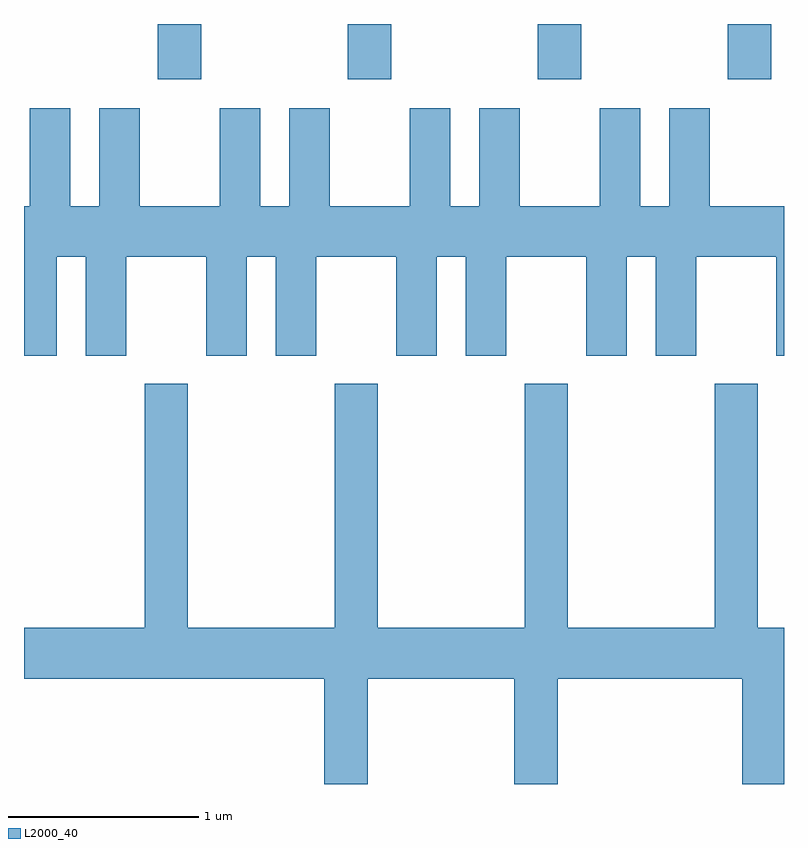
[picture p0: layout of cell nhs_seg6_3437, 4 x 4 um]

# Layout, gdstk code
import gdstk
lib = gdstk.Library(unit=1e-6, precision=1e-09)
def R(c, l, rs):  # rectangles x0, y0, x1, y1
    for r in rs: c.add(gdstk.rectangle(r[:2], r[2:], *l))
def A(c, l, x, y, w, h, nx, ny, dx, dy):  # array of equal rectangles
    R(c, l, [(x+i*dx, y+j*dy, x+i*dx+w, y+j*dy+h) for i in range(nx) for j in range(ny)])
def P(c, l, *ps):  # polygons
    for p in ps: c.add(gdstk.Polygon(p, *l))
L2000_40 = (2000, 40)

nhs_seg6_3437 = lib.new_cell('nhs_seg6_3437')
A(nhs_seg6_3437, L2000_40, 290.316, 1539.871, 0.228, 0.291, 4, 1, 1, 0)
P(nhs_seg6_3437, L2000_40, [(289.784,1538.936),(289.936,1538.936),(289.936,1538.416),(290.149,1538.416),(290.149,1538.936),(290.571,1538.936),(290.571,1538.416),(290.784,1538.416),(290.784,1538.936),(290.936,1538.936),(290.936,1538.416),(291.149,1538.416),(291.149,1538.936),(291.571,1538.936),(291.571,1538.416),(291.784,1538.416),(291.784,1538.936),(291.936,1538.936),(291.936,1538.416),(292.149,1538.416),(292.149,1538.936),(292.571,1538.936),(292.571,1538.416),(292.784,1538.416),(292.784,1538.936),(292.936,1538.936),(292.936,1538.416),(293.149,1538.416),(293.149,1538.936),(293.571,1538.936),(293.571,1538.416),(293.611,1538.416),(293.611,1539.204),(293.219,1539.204),(293.219,1539.719),(293.006,1539.719),(293.006,1539.204),(292.854,1539.204),(292.854,1539.719),(292.641,1539.719),(292.641,1539.204),(292.219,1539.204),(292.219,1539.719),(292.006,1539.719),(292.006,1539.204),(291.854,1539.204),(291.854,1539.719),(291.641,1539.719),(291.641,1539.204),(291.219,1539.204),(291.219,1539.719),(291.006,1539.719),(291.006,1539.204),(290.854,1539.204),(290.854,1539.719),(290.641,1539.719),(290.641,1539.204),(290.219,1539.204),(290.219,1539.719),(290.006,1539.719),(290.006,1539.204),(289.854,1539.204),(289.854,1539.719),(289.641,1539.719),(289.641,1539.204),(289.611,1539.204),(289.611,1538.416),(289.784,1538.416)],
  [(291.419,1536.716),(292.191,1536.716),(292.191,1536.162),(292.419,1536.162),(292.419,1536.716),(293.391,1536.716),(293.391,1536.162),(293.611,1536.162),(293.611,1536.984),(293.474,1536.984),(293.474,1538.269),(293.246,1538.269),(293.246,1536.984),(292.474,1536.984),(292.474,1538.269),(292.246,1538.269),(292.246,1536.984),(291.474,1536.984),(291.474,1538.269),(291.246,1538.269),(291.246,1536.984),(290.474,1536.984),(290.474,1538.269),(290.246,1538.269),(290.246,1536.984),(289.611,1536.984),(289.611,1536.716),(291.191,1536.716),(291.191,1536.162),(291.419,1536.162)])

lib.write_gds('nhs_seg6_3437.gds')
